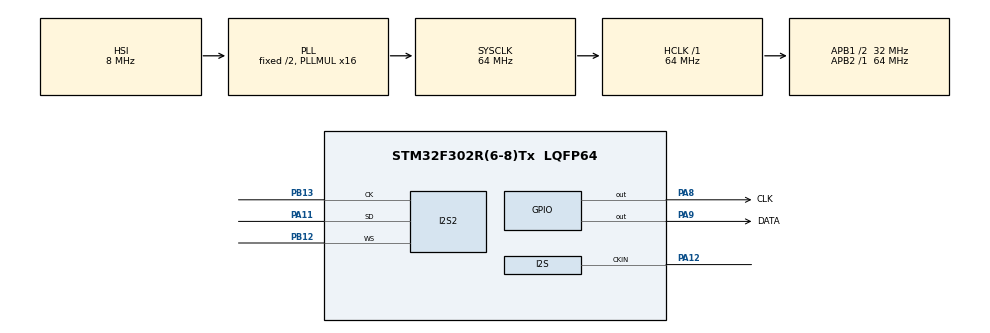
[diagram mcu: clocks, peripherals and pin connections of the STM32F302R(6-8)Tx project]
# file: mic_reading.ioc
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Dma.Request0=SPI2_RX
Dma.SPI2_RX.0.Direction=DMA_PERIPH_TO_MEMORY
Dma.SPI2_RX.0.Instance=DMA1_Channel4
Dma.SPI2_RX.0.MemDataAlignment=DMA_MDATAALIGN_HALFWORD
Dma.SPI2_RX.0.MemInc=DMA_MINC_ENABLE
Dma.SPI2_RX.0.Mode=DMA_CIRCULAR
Dma.SPI2_RX.0.PeriphDataAlignment=DMA_PDATAALIGN_HALFWORD
Dma.SPI2_RX.0.PeriphInc=DMA_PINC_DISABLE
Dma.SPI2_RX.0.Priority=DMA_PRIORITY_LOW
I2S2.AudioFreq=I2S_AUDIOFREQ_32K
I2S2.DataFormat=I2S_DATAFORMAT_24B
I2S2.ErrorAudioFreq=0.8 %
I2S2.FullDuplexMode=I2S_FULLDUPLEXMODE_DISABLE
I2S2.Instance=SPI$Index
I2S2.Mode=I2S_MODE_MASTER_RX
I2S2.RealAudioFreq=32.258 KHz
I2S2.VirtualMode=I2S_MODE_MASTER
Mcu.Family=STM32F3
Mcu.Name=STM32F302R(6-8)Tx
Mcu.Package=LQFP64
NVIC.DMA1_Channel4_IRQn=true\:0\:0\:false\:false\:true\:false\:true\:true
NVIC.PriorityGroup=NVIC_PRIORITYGROUP_4
PA11.Mode=Half_Duplex_Master
PA11.Signal=I2S2_SD
PA12.Mode=Audio_ClockIn
PA12.Signal=I2S_CKIN
PA8.GPIO_Label=CLK
PA8.GPIO_Speed=GPIO_SPEED_FREQ_HIGH
PA8.Signal=GPIO_Output
PA9.GPIO_Label=DATA
PA9.GPIO_Speed=GPIO_SPEED_FREQ_HIGH
PA9.Signal=GPIO_Output
PB12.Mode=Half_Duplex_Master
PB12.Signal=I2S2_WS
PB13.Mode=Half_Duplex_Master
PB13.Signal=I2S2_CK
ProjectManager.HeapSize=0x200
ProjectManager.StackSize=0x400
ProjectManager.TargetToolchain=STM32CubeIDE
RCC.AHBFreq_Value=64000000
RCC.APB1CLKDivider=RCC_HCLK_DIV2
RCC.APB1Freq_Value=32000000
RCC.APB1TimFreq_Value=64000000
RCC.APB2Freq_Value=64000000
RCC.APB2TimFreq_Value=64000000
RCC.CortexFreq_Value=64000000
RCC.HCLKFreq_Value=64000000
RCC.HSE_VALUE=8000000
RCC.HSI_VALUE=8000000
RCC.LSE_VALUE=32768
RCC.PLLMUL=RCC_PLL_MUL16
RCC.SYSCLKFreq_VALUE=64000000
RCC.SYSCLKSourceVirtual=RCC_SYSCLKSOURCE_PLLCLK
RCC.USBFreq_Value=64000000
board=custom

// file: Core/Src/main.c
/* USER CODE BEGIN Header */
/**
  ******************************************************************************
  * @file           : main.c
  * @brief          : Main program body
  ******************************************************************************
  * @attention
  *
  * Copyright (c) 2024 STMicroelectronics.
  * All rights reserved.
  *
  * This software is licensed under terms that can be found in the LICENSE file
  * in the root directory of this software component.
  * If no LICENSE file comes with this software, it is provided AS-IS.
  *
  ******************************************************************************
  */
/* USER CODE END Header */
#include "main.h"
#include "dma.h"
#include "i2s.h"
#include "gpio.h"

/* USER CODE BEGIN Includes */
#define I2S_WS_PIN GPIO_PIN_0
#define I2S_SD_PIN GPIOA_BASE
#define I2S_SCK_PIN GPIOF_BASE
#define I2S_PORT SPI2
#define BUFFER_LEN 64

float mean;
//SPI_HandleTypeDef hspi1;
int16_t sBuffer[BUFFER_LEN];
volatile int16_t sample;
/* USER CODE END Includes */

void SystemClock_Config(void);

/* USER CODE BEGIN 0 */
volatile uint8_t displayColon = 0;
/* USER CODE END 0 */

int main(void)
{

  /* MCU Configuration--------------------------------------------------------*/

  /* Reset of all peripherals, Initializes the Flash interface and the Systick. */
  HAL_Init();

  /* Configure the system clock */
  SystemClock_Config();

  /* Initialize all configured peripherals */
  MX_GPIO_Init();
  MX_DMA_Init();
  MX_I2S2_Init();
  /* USER CODE BEGIN 2 */

  TM1637_SetBrightness(7);

  HAL_I2S_Receive_DMA(&hi2s2, (uint8_t*)sBuffer, sizeof(sBuffer)/2);
  /* USER CODE END 2 */

  /* Infinite loop */
  /* USER CODE BEGIN WHILE */
  while (1)
  {

	  	  int16_t absSample = abs(sample);
		  TM1637_DisplayDecimal(absSample, 1);

//		  HAL_Delay(50);

    /* USER CODE END WHILE */

  }
}

void SystemClock_Config(void)
{
  RCC_OscInitTypeDef RCC_OscInitStruct = {0};
  RCC_ClkInitTypeDef RCC_ClkInitStruct = {0};

  /** Initializes the RCC Oscillators according to the specified parameters
  * in the RCC_OscInitTypeDef structure.
  */
  RCC_OscInitStruct.OscillatorType = RCC_OSCILLATORTYPE_HSI;
  RCC_OscInitStruct.HSIState = RCC_HSI_ON;
  RCC_OscInitStruct.HSICalibrationValue = RCC_HSICALIBRATION_DEFAULT;
  RCC_OscInitStruct.PLL.PLLState = RCC_PLL_ON;
  RCC_OscInitStruct.PLL.PLLSource = RCC_PLLSOURCE_HSI;
  RCC_OscInitStruct.PLL.PLLMUL = RCC_PLL_MUL16;
  if (HAL_RCC_OscConfig(&RCC_OscInitStruct) != HAL_OK)
  {
    Error_Handler();
  }

  /** Initializes the CPU, AHB and APB buses clocks
  */
  RCC_ClkInitStruct.ClockType = RCC_CLOCKTYPE_HCLK|RCC_CLOCKTYPE_SYSCLK
                              |RCC_CLOCKTYPE_PCLK1|RCC_CLOCKTYPE_PCLK2;
  RCC_ClkInitStruct.SYSCLKSource = RCC_SYSCLKSOURCE_PLLCLK;
  RCC_ClkInitStruct.AHBCLKDivider = RCC_SYSCLK_DIV1;
  RCC_ClkInitStruct.APB1CLKDivider = RCC_HCLK_DIV2;
  RCC_ClkInitStruct.APB2CLKDivider = RCC_HCLK_DIV1;

  if (HAL_RCC_ClockConfig(&RCC_ClkInitStruct, FLASH_LATENCY_2) != HAL_OK)
  {
    Error_Handler();
  }
}

/* USER CODE BEGIN 4 */

void HAL_I2S_RxCpltCallback(I2S_HandleTypeDef *hi2s){

    mean = 0;
    int j = 0;
    for (int i = 0; i < BUFFER_LEN; ++i) {
    	if ((i % 4) == 0){
    		mean += sBuffer[i];
    		j++;
    	}

    }
    mean /= j;
    sample = mean;
//	sample = sBuffer[0];

}

/* USER CODE END 4 */

void Error_Handler(void)
{
  __disable_irq();
  while (1)
  {
  }
}
